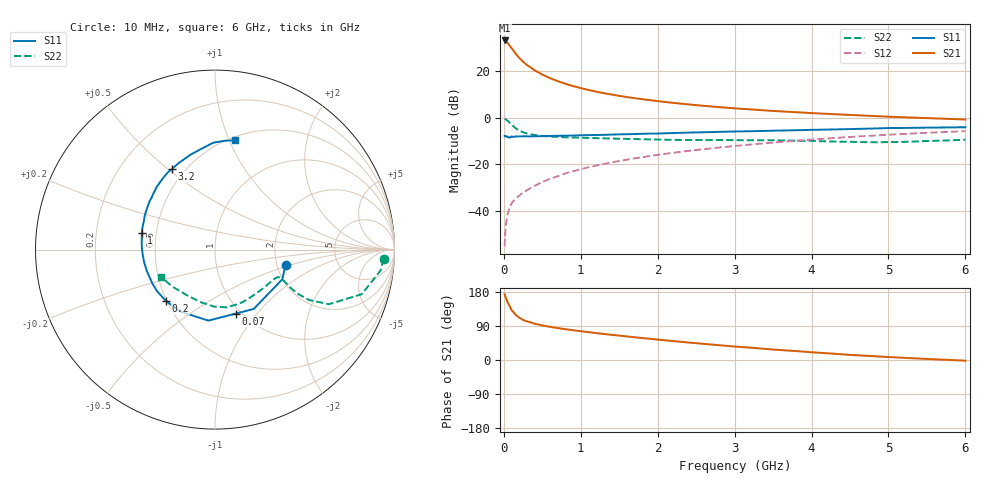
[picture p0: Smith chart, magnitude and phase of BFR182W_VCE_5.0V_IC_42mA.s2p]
! Infineon Technologies  Discrete & RF Semiconductors
! BFR182W
! VCE =  5.0 V,  IC =  42 mA
! Common Emitter S-Parameters:  Jan 2017
# GHz  S  MA  R  50
!  f  S11  S21  S12  S22
! GHz  MAG  ANG  MAG  ANG  MAG  ANG  MAG  ANG
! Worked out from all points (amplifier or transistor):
!   77 points, 10 MHz to 6 GHz, reference 50 ohm
!   highest |S21| = 32.9 dB at 10 MHz (marker M1)
!   |S21| within 3 dB of that: start of sweep to 93.37 MHz
!   unconditionally stable (mu >= 1): 452.6 MHz to 2.244 GHz
!   at 130 MHz: K = 0.59, MSG = 31.9 dB, |S12| = -35.4 dB
!   at 2.2 GHz: K = 1.00, MAG = 10.2 dB, |S12| = -15.1 dB
!   at 6 GHz: K = 0.87, MSG = 2.5 dB, |S12| = -5.8 dB
!   S11 on the Smith chart (normalised r, x): 10 MHz: 2.24, -0.45; 70 MHz: 0.94, -0.78; 200 MHz: 0.49, -0.34; 1 GHz: 0.41, +0.09; 3.2 GHz: 0.43, +0.52; 6 GHz: 0.53, +1.05
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0.01  0.4027 -12.1  44.08 173.5  0.0018 82.2  0.9403 -3.1
0.02  0.4096 -23.9  43.75 167.8  0.0038 85.5  0.9294 -7.2
0.05  0.3948 -56.9  39.16 151.3  0.0089 73.8  0.8544 -16.9
0.07  0.3746 -72.2  35.13 144.7  0.0111 69.3  0.7921 -20.0
0.1  0.3975 -95.4  30.26 131.7  0.0146 65.1  0.704 -25.6
0.15  0.3947 -118.7  23.42 119.6  0.0185 63.2  0.5944 -28.2
0.2  0.3957 -133.8  18.75 111.7  0.0216 64.9  0.5274 -28.1
0.25  0.3972 -144.2  15.57 105.9  0.025 64.3  0.4851 -27.2
0.3  0.3968 -151.7  13.2 101.9  0.028 66.6  0.4557 -26.2
0.4  0.3982 -162.5  10.17 95.7  0.0349 69.8  0.4235 -24.5
0.5  0.4012 -170.1  8.229 91.3  0.0419 71.1  0.4052 -23.7
0.6  0.4039 -176.1  6.928 87.5  0.0495 72.1  0.3933 -23.4
0.7  0.4072 179.1  5.97 84.3  0.056 73.7  0.386 -23.5
1  0.4181 167.4  4.248 76.0  0.0789 74.7  0.37 -25.8
1.1  0.4214 164.2  3.88 73.6  0.0867 74.9  0.3671 -27.0
1.5  0.4367 153.0  2.898 64.4  0.118 73.9  0.3527 -32.9
2.1  0.4609 138.9  2.145 52.0  0.1681 70.7  0.3362 -45.2
3.1  0.5065 119.7  1.532 34.1  0.2557 62.9  0.3283 -69.3
3.2  0.5099 117.9  1.493 32.6  0.2647 62.0  0.3274 -71.6
4.1  0.5494 103.2  1.222 19.1  0.3478 53.4  0.3134 -93.5
5.1  0.5973 89.9  1.027 6.8  0.4377 42.5  0.3002 -126.2
6  0.6197 79.4  0.908 -1.8  0.5119 32.3  0.3368 -153.4
